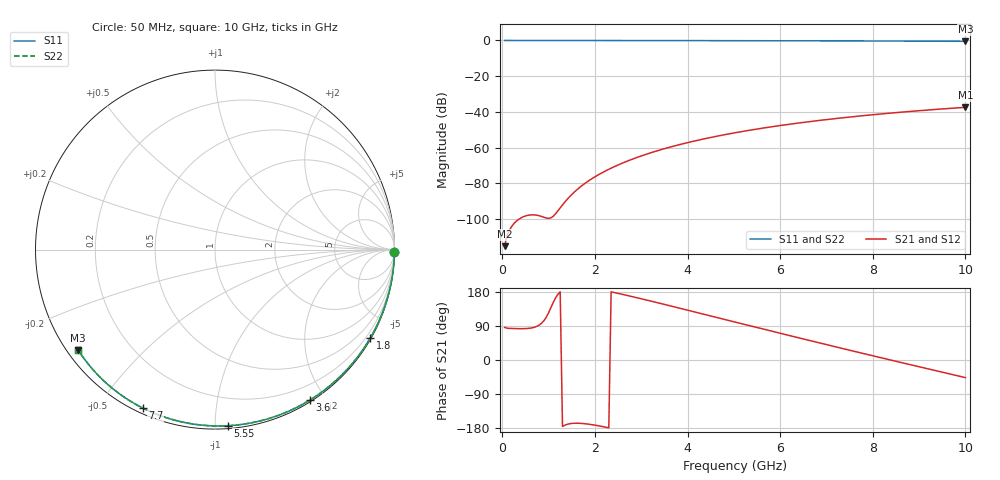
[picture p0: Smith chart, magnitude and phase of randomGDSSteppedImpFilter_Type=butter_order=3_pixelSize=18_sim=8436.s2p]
! freq	dB(S11)	phase(S11)	dB(S12)	phase(S12)
!  dB(S21)	phase(S21)	dB(S22)	phase(S22)
!S-par simulation data
#  GHz  S  DB  R 50
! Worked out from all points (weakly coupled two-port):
!   200 points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, 50 MHz to 10 GHz, reference 50 ohm
!   highest |S21| = -37.47 dB at 10 GHz (marker M1); lowest = -115.3 dB at 50 MHz (marker M2)
!   lowest |S11| = -0.5 dB at 10 GHz (marker M3), VSWR 35.70, Z = 1.55 - j16.4 ohm
!   |S11| at or under -10 dB: nowhere
!   |S22| runs from -0.5 to 0.0 dB; largest |S21 - S12| = 0
!   S11 on the Smith chart (normalised r, x): 50 MHz: open; 1.8 GHz: 0.03, -3.79; 3.6 GHz: 0.02, -1.82; 5.55 GHz: 0.02, -1.07; 7.7 GHz: 0.02, -0.64; 10 GHz: 0.03, -0.33
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0.05  -0.00 -0.8  -115.30 86.0  -115.30 86.0  -0.00 -0.8
0.45  -0.01 -7.5  -98.85 82.7  -98.85 82.7  -0.01 -7.5
0.9  -0.02 -14.9  -99.12 103.9  -99.12 103.9  -0.02 -14.9
1.3  -0.03 -21.5  -92.15 -175.3  -92.15 -175.3  -0.03 -21.5
1.75  -0.04 -28.8  -80.77 -167.8  -80.77 -167.8  -0.04 -28.8
1.8  -0.04 -29.6  -79.82 -168.4  -79.82 -168.4  -0.04 -29.6
1.95  -0.04 -32.0  -77.22 -170.9  -77.22 -170.9  -0.04 -32.0
2.1  -0.04 -34.4  -74.93 -174.1  -74.93 -174.1  -0.04 -34.4
2.3  -0.05 -37.6  -72.20 -178.9  -72.20 -178.9  -0.05 -37.6
2.5  -0.05 -40.7  -69.78 175.8  -69.78 175.8  -0.05 -40.7
2.9  -0.06 -47.0  -65.65 164.6  -65.65 164.6  -0.06 -47.0
3.4  -0.07 -54.6  -61.41 149.8  -61.41 149.8  -0.07 -54.6
3.6  -0.08 -57.7  -59.93 143.7  -59.93 143.7  -0.08 -57.7
4.3  -0.10 -68.1  -55.47 122.4  -55.47 122.4  -0.10 -68.1
5.05  -0.12 -78.9  -51.62 99.5  -51.62 99.5  -0.12 -78.9
5.55  -0.14 -85.9  -49.43 84.2  -49.43 84.2  -0.14 -85.9
6.1  -0.17 -93.5  -47.31 67.6  -47.31 67.6  -0.17 -93.5
6.7  -0.20 -101.5  -45.28 49.5  -45.28 49.5  -0.20 -101.5
7.7  -0.26 -114.6  -42.39 19.9  -42.39 19.9  -0.26 -114.6
8.35  -0.32 -122.9  -40.79 0.9  -40.79 0.9  -0.32 -122.9
9.2  -0.40 -133.6  -38.96 -23.6  -38.96 -23.6  -0.40 -133.6
10  -0.49 -143.7  -37.47 -46.4  -37.47 -46.4  -0.49 -143.7
